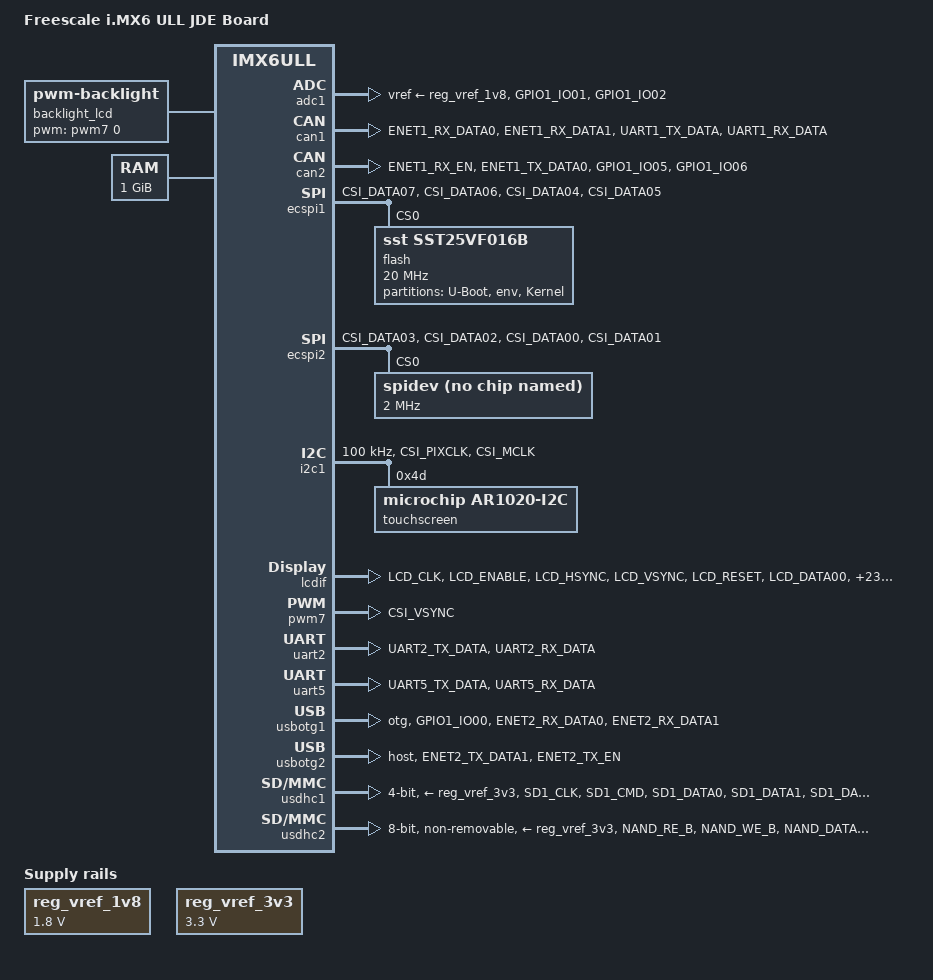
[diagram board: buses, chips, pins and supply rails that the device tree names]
// SPDX-License-Identifier: (GPL-2.0+ OR MIT)
/*
 * Copyright 2021 Boundary Devices
 */

/dts-v1/;

#include <dt-bindings/input/input.h>
#include "imx6ull.dtsi"

&iomuxc {
	pinctrl-names = "default";
	pinctrl-0 = <&pinctrl_hog>;

	pinctrl_adc: adcgrp {
		fsl,pins = <
			MX6UL_PAD_GPIO1_IO01__GPIO1_IO01	0xb0
			MX6UL_PAD_GPIO1_IO02__GPIO1_IO02	0xb0
		>;
	};

	pinctrl_can1: can1grp {
		fsl,pins = <
			MX6UL_PAD_ENET1_RX_DATA0__FLEXCAN1_TX	0x1b0b0
			MX6UL_PAD_ENET1_RX_DATA1__FLEXCAN1_RX	0x1b0b0
			MX6UL_PAD_UART1_TX_DATA__GPIO1_IO16	0x1b0b1
			MX6UL_PAD_UART1_RX_DATA__GPIO1_IO17	0x1b0b1
		>;
	};

	pinctrl_can2: can2grp {
		fsl,pins = <
			MX6UL_PAD_ENET1_RX_EN__FLEXCAN2_TX	0x1b0b0
			MX6UL_PAD_ENET1_TX_DATA0__FLEXCAN2_RX	0x1b0b0
#define GP_CAN2_SW_MODE0	<&gpio1 5 GPIO_ACTIVE_HIGH>
			MX6UL_PAD_GPIO1_IO05__GPIO1_IO05	0x030b0
#define GP_CAN2_SW_MODE1	<&gpio1 6 GPIO_ACTIVE_HIGH>
			MX6UL_PAD_GPIO1_IO06__GPIO1_IO06	0x030b0
		>;
	};

	pinctrl_ecspi1: ecspi1grp {
		fsl,pins = <
			MX6UL_PAD_CSI_DATA07__ECSPI1_MISO	0x100b1
			MX6UL_PAD_CSI_DATA06__ECSPI1_MOSI	0x100b1
			MX6UL_PAD_CSI_DATA04__ECSPI1_SCLK	0x100b1
#define GP_ECSPI1_NOR_CS	<&gpio4 26 GPIO_ACTIVE_LOW>
			MX6UL_PAD_CSI_DATA05__GPIO4_IO26	0x0b0b1
		>;
	};

	/* spi interface for display, mosi/miso connected together */
	pinctrl_ecspi2: ecspi2grp {
		fsl,pins = <
			MX6UL_PAD_CSI_DATA03__ECSPI2_MISO	0x100b1
			MX6UL_PAD_CSI_DATA02__ECSPI2_MOSI	0x100b1
			MX6UL_PAD_CSI_DATA00__ECSPI2_SCLK	0x100b1
#define GP_ECSPI2_CS0			<&gpio4 22 GPIO_ACTIVE_LOW>
			MX6UL_PAD_CSI_DATA01__GPIO4_IO22	0x0b0b1
		>;
	};

	pinctrl_hog: hoggrp {
		fsl,pins = <
			MX6UL_PAD_GPIO1_IO04__GPIO1_IO04	0x1b0b0		/* software reset */
			MX6UL_PAD_ENET2_TX_CLK__GPIO2_IO14	0x130b0		/* R27 to ground */
			MX6UL_PAD_GPIO1_IO03__GPIO1_IO03	0x130b0		/* REG_VPP */
			/* Test points */
			MX6UL_PAD_CSI_HSYNC__GPIO4_IO20		0x1b0b0		/* tp3 */
		>;
	};

	pinctrl_i2c1: i2c1grp {
		fsl,pins = <
			MX6UL_PAD_CSI_PIXCLK__I2C1_SCL		0x4001b8b1
			MX6UL_PAD_CSI_MCLK__I2C1_SDA		0x4001b8b1
		>;
	};

	pinctrl_i2c1_1: i2c1-1grp {
		fsl,pins = <
#define GP_I2C1_SCL		<&gpio4 18 GPIO_ACTIVE_HIGH>
			MX6UL_PAD_CSI_PIXCLK__GPIO4_IO18	0x4001b8b1
#define GP_I2C1_SDA		<&gpio4 17 GPIO_ACTIVE_HIGH>
			MX6UL_PAD_CSI_MCLK__GPIO4_IO17	0x4001b8b1
		>;
	};

	pinctrl_lcdif: lcdifgrp {
		fsl,pins = <
			MX6UL_PAD_LCD_CLK__LCDIF_CLK		0x79
			MX6UL_PAD_LCD_ENABLE__LCDIF_ENABLE	0x79
			MX6UL_PAD_LCD_HSYNC__LCDIF_HSYNC	0x79
			MX6UL_PAD_LCD_VSYNC__LCDIF_VSYNC	0x79
			MX6UL_PAD_LCD_RESET__LCDIF_RESET	0x79
			MX6UL_PAD_LCD_DATA00__LCDIF_DATA00	0x79
			MX6UL_PAD_LCD_DATA01__LCDIF_DATA01	0x79
			MX6UL_PAD_LCD_DATA02__LCDIF_DATA02	0x79
			MX6UL_PAD_LCD_DATA03__LCDIF_DATA03	0x79
			MX6UL_PAD_LCD_DATA04__LCDIF_DATA04	0x79
			MX6UL_PAD_LCD_DATA05__LCDIF_DATA05	0x79
			MX6UL_PAD_LCD_DATA06__LCDIF_DATA06	0x79
			MX6UL_PAD_LCD_DATA07__LCDIF_DATA07	0x79
			MX6UL_PAD_LCD_DATA08__LCDIF_DATA08	0x79
			MX6UL_PAD_LCD_DATA09__LCDIF_DATA09	0x79
			MX6UL_PAD_LCD_DATA10__LCDIF_DATA10	0x79
			MX6UL_PAD_LCD_DATA11__LCDIF_DATA11	0x79
			MX6UL_PAD_LCD_DATA12__LCDIF_DATA12	0x79
			MX6UL_PAD_LCD_DATA13__LCDIF_DATA13	0x79
			MX6UL_PAD_LCD_DATA14__LCDIF_DATA14	0x79
			MX6UL_PAD_LCD_DATA15__LCDIF_DATA15	0x79
			MX6UL_PAD_LCD_DATA16__LCDIF_DATA16	0x79
			MX6UL_PAD_LCD_DATA17__LCDIF_DATA17	0x79
			MX6UL_PAD_LCD_DATA18__LCDIF_DATA18	0x79
			MX6UL_PAD_LCD_DATA19__LCDIF_DATA19	0x79
			MX6UL_PAD_LCD_DATA20__LCDIF_DATA20	0x79
			MX6UL_PAD_LCD_DATA21__LCDIF_DATA21	0x79
			MX6UL_PAD_LCD_DATA22__LCDIF_DATA22	0x79
			MX6UL_PAD_LCD_DATA23__LCDIF_DATA23	0x79
		>;
	};

	pinctrl_pwm7: pwm7grp {
		/* Backlight */
		fsl,pins = <
			MX6UL_PAD_CSI_VSYNC__PWM7_OUT		0x030b0
		>;
	};

	pinctrl_ts_ar1021: ts-ar1021grp {
		fsl,pins = <
#define GPIRQ_TS_AR1021		<&gpio1 7 IRQ_TYPE_LEVEL_HIGH>
#define GP_TS_AR1021_IRQ	<&gpio1 7 GPIO_ACTIVE_HIGH>
			MX6UL_PAD_GPIO1_IO07__GPIO1_IO07	0x130b0
		>;
	};

	pinctrl_uart1: uart1grp {
		fsl,pins = <
			MX6UL_PAD_UART1_TX_DATA__UART1_DCE_TX	0x1b0b1
			MX6UL_PAD_UART1_RX_DATA__UART1_DCE_RX	0x1b0b1
			MX6UL_PAD_ENET1_RX_DATA0__GPIO2_IO00	0xb0
			MX6UL_PAD_ENET1_RX_DATA1__GPIO2_IO01    0xb0
		>;
	};

	pinctrl_uart2: uart2grp {
		fsl,pins = <
			MX6UL_PAD_UART2_TX_DATA__UART2_DCE_TX	0x1b0b1
			MX6UL_PAD_UART2_RX_DATA__UART2_DCE_RX	0x1b0b1
		>;
	};

	pinctrl_uart5: uart5grp {
		fsl,pins = <
			MX6UL_PAD_UART5_TX_DATA__UART5_DCE_TX	0x1b0b1
			MX6UL_PAD_UART5_RX_DATA__UART5_DCE_RX	0x1b0b1
		>;
	};

	pinctrl_usbotg1: usbotg1grp {
		fsl,pins = <
			MX6UL_PAD_GPIO1_IO00__ANATOP_OTG1_ID	0x1b0b0
			MX6UL_PAD_ENET2_RX_DATA0__USB_OTG1_PWR	0x030b0
			MX6UL_PAD_ENET2_RX_DATA1__USB_OTG1_OC	0x1b0b0
		>;
	};

	pinctrl_usbotg2: usbotg2grp {
		fsl,pins = <
			MX6UL_PAD_ENET2_TX_DATA1__USB_OTG2_PWR	0x030b0
			MX6UL_PAD_ENET2_TX_EN__USB_OTG2_OC	0x1b0b0
		>;
	};

	pinctrl_usdhc1_50mhz: usdhc1-50mhzgrp {
		/* QCA9377-3 */
		fsl,pins = <
			MX6UL_PAD_SD1_CLK__USDHC1_CLK		0x10031
			MX6UL_PAD_SD1_CMD__USDHC1_CMD		0x17031
			MX6UL_PAD_SD1_DATA0__USDHC1_DATA0	0x17031
			MX6UL_PAD_SD1_DATA1__USDHC1_DATA1	0x17031
			MX6UL_PAD_SD1_DATA2__USDHC1_DATA2	0x17031
			MX6UL_PAD_SD1_DATA3__USDHC1_DATA3	0x17031
#define GP_USDHC1_CD		<&gpio1 19 GPIO_ACTIVE_LOW>
			MX6UL_PAD_UART1_RTS_B__GPIO1_IO19	0x1b0b0
		>;
	};

	pinctrl_usdhc1_100mhz: usdhc1-50mhzgrp {
		fsl,pins = <
			MX6UL_PAD_SD1_CLK__USDHC1_CLK		0x100b9
			MX6UL_PAD_SD1_CMD__USDHC1_CMD		0x170b9
			MX6UL_PAD_SD1_DATA0__USDHC1_DATA0	0x170b9
			MX6UL_PAD_SD1_DATA1__USDHC1_DATA1	0x170b9
			MX6UL_PAD_SD1_DATA2__USDHC1_DATA2	0x170b9
			MX6UL_PAD_SD1_DATA3__USDHC1_DATA3	0x170b9
		>;
	};

	pinctrl_usdhc1_200mhz: usdhc1-50mhzgrp {
		fsl,pins = <
			MX6UL_PAD_SD1_CLK__USDHC1_CLK		0x100f9
			MX6UL_PAD_SD1_CMD__USDHC1_CMD		0x170f9
			MX6UL_PAD_SD1_DATA0__USDHC1_DATA0	0x170f9
			MX6UL_PAD_SD1_DATA1__USDHC1_DATA1	0x170f9
			MX6UL_PAD_SD1_DATA2__USDHC1_DATA2	0x170f9
			MX6UL_PAD_SD1_DATA3__USDHC1_DATA3	0x170f9
		>;
	};

	pinctrl_usdhc2_50mhz: usdhc2-50mhzgrp {
		fsl,pins = <
			MX6UL_PAD_NAND_RE_B__USDHC2_CLK		0x10071
			MX6UL_PAD_NAND_WE_B__USDHC2_CMD		0x17071
			MX6UL_PAD_NAND_DATA00__USDHC2_DATA0	0x17071
			MX6UL_PAD_NAND_DATA01__USDHC2_DATA1	0x17071
			MX6UL_PAD_NAND_DATA02__USDHC2_DATA2	0x17071
			MX6UL_PAD_NAND_DATA03__USDHC2_DATA3	0x17071
			MX6UL_PAD_NAND_DATA04__USDHC2_DATA4	0x17071
			MX6UL_PAD_NAND_DATA05__USDHC2_DATA5	0x17071
			MX6UL_PAD_NAND_DATA06__USDHC2_DATA6	0x17071
			MX6UL_PAD_NAND_DATA07__USDHC2_DATA7	0x17071
			MX6UL_PAD_NAND_ALE__USDHC2_RESET_B	0x17071
		>;
	};

	pinctrl_usdhc2_100mhz: usdhc2-100mhzgrp {
		fsl,pins = <
			MX6UL_PAD_NAND_RE_B__USDHC2_CLK		0x100b9
			MX6UL_PAD_NAND_WE_B__USDHC2_CMD		0x170b9
			MX6UL_PAD_NAND_DATA00__USDHC2_DATA0	0x170b9
			MX6UL_PAD_NAND_DATA01__USDHC2_DATA1	0x170b9
			MX6UL_PAD_NAND_DATA02__USDHC2_DATA2	0x170b9
			MX6UL_PAD_NAND_DATA03__USDHC2_DATA3	0x170b9
			MX6UL_PAD_NAND_DATA04__USDHC2_DATA4	0x170b9
			MX6UL_PAD_NAND_DATA05__USDHC2_DATA5	0x170b9
			MX6UL_PAD_NAND_DATA06__USDHC2_DATA6	0x170b9
			MX6UL_PAD_NAND_DATA07__USDHC2_DATA7	0x170b9
		>;
	};

	pinctrl_usdhc2_200mhz: usdhc2-200mhzgrp {
		fsl,pins = <
			MX6UL_PAD_NAND_RE_B__USDHC2_CLK		0x100f9
			MX6UL_PAD_NAND_WE_B__USDHC2_CMD		0x170f9
			MX6UL_PAD_NAND_DATA00__USDHC2_DATA0	0x170f9
			MX6UL_PAD_NAND_DATA01__USDHC2_DATA1	0x170f9
			MX6UL_PAD_NAND_DATA02__USDHC2_DATA2	0x170f9
			MX6UL_PAD_NAND_DATA03__USDHC2_DATA3	0x170f9
			MX6UL_PAD_NAND_DATA04__USDHC2_DATA4	0x170f9
			MX6UL_PAD_NAND_DATA05__USDHC2_DATA5	0x170f9
			MX6UL_PAD_NAND_DATA06__USDHC2_DATA6	0x170f9
			MX6UL_PAD_NAND_DATA07__USDHC2_DATA7	0x170f9
		>;
	};
};

/ {
	model = "Freescale i.MX6 ULL JDE Board";
	compatible = "fsl,imx6ull-jde", "fsl,imx6ull";

	aliases {
		backlight_lcd = &backlight_lcd;
		can1 = &can1;
		fb_lcd = &lcdif;
		lcd = &display0;
		t_lcd = &t_lcd;
		uart1 = &uart1;
	};

	backlight_lcd: backlight-lcd {
		brightness-levels = <0 800 1000 3000 8000 16000 25000 40000 65535>;
		compatible = "pwm-backlight";
		display = <&lcdif>;
		default-brightness-level = <8>;
		pwms = <&pwm7 0 2000000 0>;
		status = "okay";
	};

	memory {
		reg = <0x80000000 0x40000000>;
	};

	reg_vref_1v8: regulator-vref-1v8 {
		compatible = "regulator-fixed";
		regulator-name = "vref-1v8";
		regulator-min-microvolt = <1800000>;
		regulator-max-microvolt = <1800000>;
		regulator-always-on;
	};

	reg_vref_3v3: regulator-vref-3v3 {
		compatible = "regulator-fixed";
		regulator-name = "vref-3v3";
		regulator-min-microvolt = <3300000>;
		regulator-max-microvolt = <3300000>;
		regulator-always-on;
	};

	reserved-memory {
		#address-cells = <1>;
		#size-cells = <1>;
		ranges;

		linux,cma {
			compatible = "shared-dma-pool";
			reusable;
			size = <0x04000000>;
			linux,cma-default;
		};
	};
};

&adc1 {
	vref-supply = <&reg_vref_1v8>;
	pinctrl-names = "default";
	pinctrl-0 = <&pinctrl_adc>;
	num-channels = <3>;
	status = "okay";
};

&can1 {
	pinctrl-names = "default";
	pinctrl-0 = <&pinctrl_can1>;
	status = "okay";
};

&can2 {
	pinctrl-names = "default";
	pinctrl-0 = <&pinctrl_can2>;
	status = "okay";
};

&ecspi1 {
	fsl,spi-num-chipselects = <1>;
	cs-gpios = GP_ECSPI1_NOR_CS;
	pinctrl-names = "default";
	pinctrl-0 = <&pinctrl_ecspi1>;
	status = "okay";

	flash: m25p80@0 {
		compatible = "sst,sst25vf016b";
		spi-max-frequency = <20000000>;
		reg = <0>;
		#address-cells = <1>;
		#size-cells = <1>;
		partition@0 {
			label = "U-Boot";
			reg = <0x0 0xC0000>;
			read-only;
		};
		partition@C0000 {
			label = "env";
			reg = <0xC0000 0x2000>;
		};
		partition@C2000 {
			label = "Kernel";
			reg = <0xC2000 0x13e000>;
		};
	};
};

&ecspi2 {
	fsl,spi-num-chipselects = <2>;
	cs-gpios = GP_ECSPI2_CS0;
	pinctrl-names = "default";
	pinctrl-0 = <&pinctrl_ecspi2>;
	status = "okay";

	spidev@0 {
		compatible = "spidev";
		spi-max-frequency = <2000000>;
		reg = <0>;
	};
};

&i2c1 {
	clock-frequency = <100000>;
	pinctrl-names = "default", "gpio";
	pinctrl-0 = <&pinctrl_i2c1>;
	pinctrl-1 = <&pinctrl_i2c1_1>;
	scl-gpios = GP_I2C1_SCL;
	sda-gpios = GP_I2C1_SDA;
	status = "okay";

	touchscreen@4d {
		compatible = "microchip,ar1020-i2c";
		pinctrl-names = "default";
		pinctrl-0 = <&pinctrl_ts_ar1021>;
		reg = <0x4d>;
		interrupts-extended = GPIRQ_TS_AR1021;
		wakeup-gpios = GP_TS_AR1021_IRQ;
	};
};

&lcdif {
	display = <&display0>;
	pinctrl-names = "default";
	pinctrl-0 = <&pinctrl_lcdif>;
	status = "okay";

	display0: lcd-display {
		bits-per-pixel = <24>;
		bus-width = <24>;

		display-timings {
			native-mode = <&t_lcd>;
			t_lcd: t-lcd-default {
				/* default to Ampire 320240UTMQW display */
				clock-frequency = <6438270>;
				hactive = <320>;
				vactive = <240>;
				hback-porch = <69>;
				hfront-porch = <18>;
				hsync-len = <1>;
				vback-porch = <12>;
				vfront-porch = <10>;
				vsync-len = <1>;
				hsync-active = <0>;
				vsync-active = <0>;
				de-active = <1>;
				pixelclk-active = <0>;
			};
		};
	};
};

&pwm7 {
	pinctrl-names = "default";
	pinctrl-0 = <&pinctrl_pwm7>;
	status = "okay";
};

&uart1 { /* can1 option */
	pinctrl-names = "default";
	pinctrl-0 = <&pinctrl_uart1>;
	status = "disabled";
};

&uart2 { /* console (J1) */
	pinctrl-names = "default";
	pinctrl-0 = <&pinctrl_uart2>;
	status = "okay";
};

&uart5 { /* NS */
	pinctrl-names = "default";
	pinctrl-0 = <&pinctrl_uart5>;
	status = "okay";
};

&usbotg1 {
	dr_mode = "otg";
	over-current-active-low;
	pinctrl-names = "default";
	pinctrl-0 = <&pinctrl_usbotg1>;
	power-active-high;
	status = "okay";
};

&usbotg2 {
	dr_mode = "host";
	over-current-active-low;
	pinctrl-names = "default";
	pinctrl-0 = <&pinctrl_usbotg2>;
	power-active-high;
	status = "okay";
};

&usdhc1 {
	bus-width = <4>;
	cd-gpios = GP_USDHC1_CD;
	no-1-8-v;
	pinctrl-names = "default", "state_100mhz", "state_200mhz";
	pinctrl-0 = <&pinctrl_usdhc1_50mhz>;
	pinctrl-1 = <&pinctrl_usdhc1_100mhz>;
	pinctrl-2 = <&pinctrl_usdhc1_200mhz>;
	status = "okay";
	vmmc-supply = <&reg_vref_3v3>;
};

&usdhc2 {
	bus-width = <8>;
	keep-power-in-suspend;
	no-mmc-hs400;
	non-removable;
	pinctrl-names = "default", "state_100mhz", "state_200mhz";
	pinctrl-0 = <&pinctrl_usdhc2_50mhz>;
	pinctrl-1 = <&pinctrl_usdhc2_100mhz>;
	pinctrl-2 = <&pinctrl_usdhc2_200mhz>;
	status = "okay";
	vmmc-supply = <&reg_vref_3v3>;
	vqmmc-1-8-v;
	vqmmc-supply = <&reg_vref_1v8>;
};
